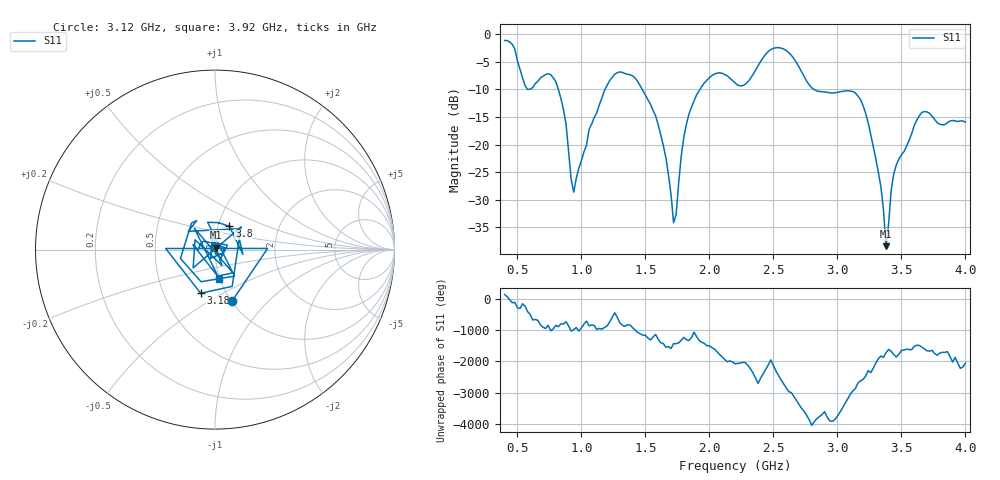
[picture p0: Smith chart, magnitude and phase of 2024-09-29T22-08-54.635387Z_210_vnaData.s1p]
!Created with skrf (http://scikit-rf.org).
# Hz S RI R 50.0
!freq ReS11 ImS11
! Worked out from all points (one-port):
!   181 points, 400 MHz to 4 GHz, reference 50 ohm
!   lowest |S11| = -38.4 dB at 3.38 GHz (marker M1), VSWR 1.02, Z = 50.3 + j1.17 ohm
!   |S11| at or under -10 dB: 819.7 MHz to 1.185 GHz (365.4 MHz wide, 36.5 % of centre); 1.475 GHz to 1.927 GHz (452 MHz wide, 26.6 % of centre); 2.815 GHz to end of sweep (the widest 3 of 4)
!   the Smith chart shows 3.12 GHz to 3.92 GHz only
!   S11 on the Smith chart (normalised r, x): 3.12 GHz: 1.01, -0.64; 3.18 GHz: 0.76, -0.40; 3.8 GHz: 1.13, +0.30; 3.92 GHz: 0.99, -0.33
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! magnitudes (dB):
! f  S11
! 400 MHz  -1.2
! 580 MHz  -10.1
! 760 MHz  -7.3
! 860 MHz  -13.7
! 940 MHz  -28.6
! 1.06 GHz  -17.2
! 1.3 GHz  -6.9
! 1.58 GHz  -14.8
! 1.66 GHz  -22.4
! 1.72 GHz  -34.1
! 1.76 GHz  -26.9
! 1.82 GHz  -16.3
! 1.9 GHz  -11.0
! 2.2 GHz  -8.8
! 2.5 GHz  -2.6
! 2.66 GHz  -4.5
! 2.82 GHz  -10.1
! 3.1 GHz  -10.3
! 3.12 GHz  -10.4
! 3.18 GHz  -11.8
! 3.34 GHz  -27.6
! 3.38 GHz  -38.4
! 3.44 GHz  -25.3
! 3.56 GHz  -19.2
! 3.66 GHz  -14.2
! 3.8 GHz  -16.3
! 3.92 GHz  -15.7
! 4 GHz  -16.0
